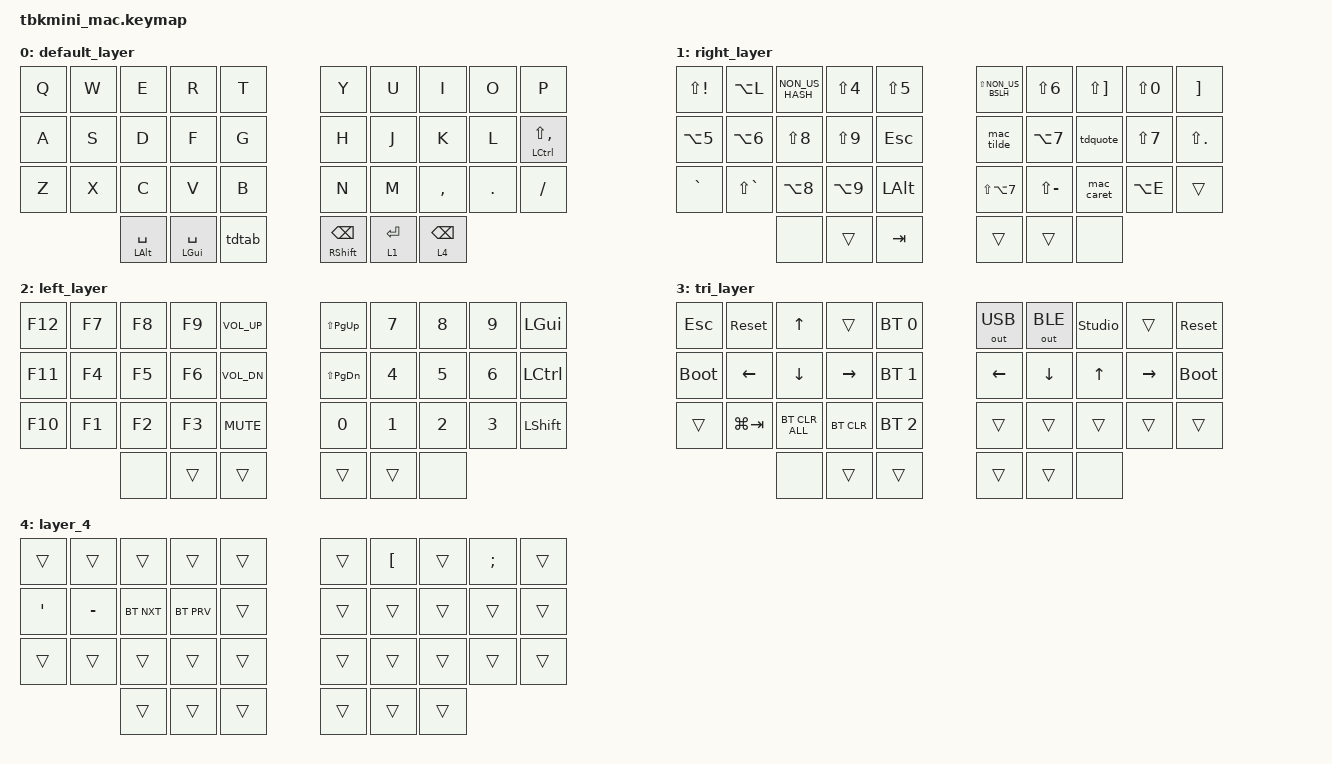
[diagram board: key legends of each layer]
#include <behaviors.dtsi>
#include <dt-bindings/zmk/bt.h>
#include <dt-bindings/zmk/keys.h>
#include <dt-bindings/zmk/outputs.h>

// macOS-Variante von tbkmini.keymap, Host-Layout "Deutsch" (ISO).
// Unterschiede: Ctrl <-> Cmd getauscht, AltGr-Zeichen auf Option-Kombis,
// ^/° und </> getauscht (macOS vertauscht diese Tasten bei ISO-Fremdtastaturen).

// Home row mods macro

#define HRML(k1,k2,k3,k4) &ht LSHFT k1  &ht LALT k2  &ht LCTRL k3  &ht LGUI k4
#define HRMR(k1,k2,k3,k4) &ht RGUI k1  &ht RCTRL k2  &ht RALT k3  &ht RSHFT k4

/ {
    behaviors {
        ht: hold_tap {
            compatible = "zmk,behavior-hold-tap";
            #binding-cells = <2>;
            flavor = "tap-preferred";
            tapping-term-ms = <220>;
            quick-tap-ms = <150>;
            require-prior-idle-ms = <100>;
            bindings = <&kp>, <&kp>;
        };

        tdtab: tdtab {
            compatible = "zmk,behavior-tap-dance";
            #binding-cells = <0>;
            tapping-term-ms = <200>;
            bindings = <&kp TAB>, <&kp ESCAPE>;
        };

        tdquote: tdquote {
            compatible = "zmk,behavior-tap-dance";
            #binding-cells = <0>;
            tapping-term-ms = <200>;
            bindings = <&kp LS(NON_US_HASH)>, <&kp LS(NUMBER_2)>, <&kp LS(EQUAL)>;
        };

        hrmod: hrmod {
            compatible = "zmk,behavior-hold-tap";
            #binding-cells = <2>;
            flavor = "hold-preferred";
            quick-tap-ms = <200>;
            tapping-term-ms = <200>;
            require-prior-idle-ms = <125>;
            bindings = <&kp>, <&kp>;
        };

        hrmod_l: hrmod_l {
            compatible = "zmk,behavior-hold-tap";
            #binding-cells = <2>;
            flavor = "hold-preferred";
            quick-tap-ms = <200>;
            tapping-term-ms = <200>;
            require-prior-idle-ms = <80>;
            bindings = <&mo>, <&kp>;
        };

        a: a {
            compatible = "zmk,behavior-tap-dance";
            label = "A";
            #binding-cells = <0>;
            bindings = <&kp A>, <&kp SQT>;
        };

        s: s {
            compatible = "zmk,behavior-tap-dance";
            label = "S";
            #binding-cells = <0>;
            bindings = <&kp S>, <&kp MINUS>;
        };

        u: u {
            compatible = "zmk,behavior-tap-dance";
            label = "U";
            #binding-cells = <0>;
            bindings = <&kp U>, <&kp LEFT_BRACKET>;
        };

        o: o {
            compatible = "zmk,behavior-tap-dance";
            label = "O";
            #binding-cells = <0>;
            bindings = <&kp O>, <&kp SEMICOLON>;
        };
    };

    macros {
        // ~ und ^ sind auf macOS-Deutsch tote Tasten: Zeichen + Leertaste schickt sie direkt
        mac_tilde: mac_tilde {
            compatible = "zmk,behavior-macro";
            #binding-cells = <0>;
            bindings = <&kp LA(N) &kp SPACE>;
        };

        mac_caret: mac_caret {
            compatible = "zmk,behavior-macro";
            #binding-cells = <0>;
            bindings = <&kp NON_US_BACKSLASH &kp SPACE>;
        };
    };

    combos {
        compatible = "zmk,combos";

        combo_numbers {
            timeout-ms = <50>;
            key-positions = <30 35>;
            bindings = <&mo 2>;
        };

        combo_alt {
            timeout-ms = <50>;
            key-positions = <31 34>;
            bindings = <&mo 3>;
        };

        arrow_up {
            bindings = <&kp UP_ARROW>;
            key-positions = <2 3>;
        };

        arrow_down {
            bindings = <&kp DOWN_ARROW>;
            key-positions = <22 23>;
        };

        arrow_right {
            bindings = <&kp RIGHT_ARROW>;
            key-positions = <13 12>;
        };

        arrow_left {
            bindings = <&kp LEFT_ARROW>;
            key-positions = <11 12>;
        };

        esc {
            bindings = <&kp ESCAPE>;
            key-positions = <0 1>;
        };
    };

    keymap {
        compatible = "zmk,keymap";

        default_layer {
            bindings = <
&kp Q  &kp W  &kp E                  &kp R                      &kp T     &kp Y                         &kp U             &kp I                 &kp O    &kp P
&kp A  &kp S  &kp D                  &kp F                      &kp G     &kp H                         &kp J             &kp K                 &kp L    &hrmod LEFT_CONTROL LS(COMMA)
&kp Z  &kp X  &kp C                  &kp V                      &kp B     &kp N                         &kp M             &kp COMMA             &kp DOT  &kp FSLH
              &hrmod LEFT_ALT SPACE  &hrmod LEFT_GUI SPACE  &tdtab    &hrmod RIGHT_SHIFT BACKSPACE  &hrmod_l 1 ENTER  &hrmod_l 4 BACKSPACE
            >;
        };

        right_layer {
            bindings = <
&kp LS(EXCLAMATION)  &kp LA(L)      &kp NON_US_HASH  &kp LS(NUMBER_4)  &kp LS(N5)    &kp LS(NON_US_BSLH)  &kp LS(NUMBER_6)  &kp LS(RIGHT_BRACKET)  &kp LS(N0)  &kp RIGHT_BRACKET
&kp LA(N5)           &kp LA(N6)     &kp LS(N8)       &kp LS(N9)        &kp ESCAPE    &mac_tilde           &kp LA(N7)        &tdquote               &kp LS(N7)  &kp LS(PERIOD)
&kp GRAVE            &kp LS(GRAVE)  &kp LA(N8)       &kp LA(N9)        &kp LEFT_ALT  &kp LS(LA(N7))       &kp LS(MINUS)     &mac_caret             &kp LA(E)   &trans
                                    &none            &trans            &kp TAB       &trans               &trans            &none
            >;
        };

        left_layer {
            bindings = <
&kp F12  &kp F7  &kp F8  &kp F9  &kp C_VOL_UP    &kp LS(PG_UP)  &kp N7  &kp N8  &kp N9  &kp LEFT_GUI
&kp F11  &kp F4  &kp F5  &kp F6  &kp C_VOL_DN    &kp LS(PG_DN)  &kp N4  &kp N5  &kp N6  &kp LCTRL
&kp F10  &kp F1  &kp F2  &kp F3  &kp K_MUTE      &kp N0         &kp N1  &kp N2  &kp N3  &kp LEFT_SHIFT
                 &none   &trans  &trans          &trans         &trans  &none
            >;
        };

        tri_layer {
            bindings = <
&kp ESCAPE   &sys_reset      &kp UP_ARROW    &trans           &bt BT_SEL 0    &out OUT_USB  &out OUT_BLE  &studio_unlock  &trans           &sys_reset
&bootloader  &kp LEFT_ARROW  &kp DOWN_ARROW  &kp RIGHT_ARROW  &bt BT_SEL 1    &kp LEFT      &kp DOWN      &kp UP_ARROW  &kp RIGHT_ARROW  &bootloader
&trans       &kp LG(TAB)     &bt BT_CLR_ALL  &bt BT_CLR       &bt BT_SEL 2    &trans        &trans        &trans        &trans           &trans
                             &none           &trans           &trans          &trans        &trans        &none
            >;
        };

        layer_4 {
            bindings = <
&trans   &trans     &trans      &trans      &trans    &trans  &kp LEFT_BRACKET  &trans  &kp SEMI  &trans
&kp SQT  &kp MINUS  &bt BT_NXT  &bt BT_PRV  &trans    &trans  &trans            &trans  &trans    &trans
&trans   &trans     &trans      &trans      &trans    &trans  &trans            &trans  &trans    &trans
                    &trans      &trans      &trans    &trans  &trans            &trans
            >;
        };
    };
};
